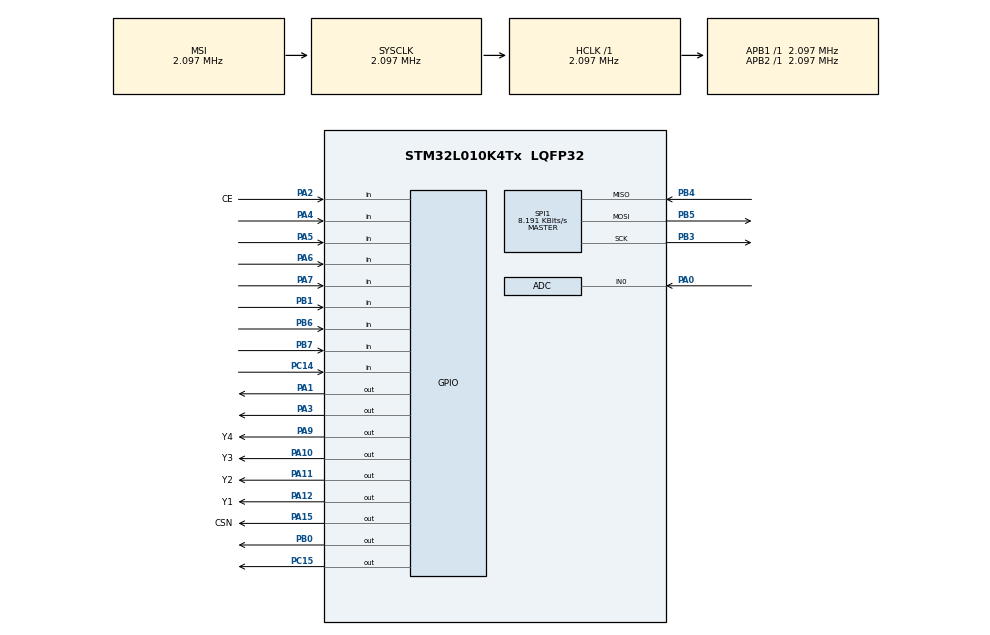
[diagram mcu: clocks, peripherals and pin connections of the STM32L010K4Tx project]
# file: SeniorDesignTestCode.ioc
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Mcu.Family=STM32L0
RCC.MSI_VALUE=2097000
SPI1.VirtualType=VM_MASTER
PA0-CK_IN.Mode=IN0
PA9.GPIO_Label=Y4
PA11.GPIO_Label=Y2
PC14-OSC32_IN.Signal=GPIO_Input
PA12.GPIO_Label=Y1
ProjectManager.StackSize=0x400
RCC.HSI16_VALUE=16000000
PA15.GPIO_Label=CSN
PA12.Signal=GPIO_Output
ProjectManager.TargetToolchain=STM32CubeIDE
SPI1.Direction=SPI_DIRECTION_2LINES
RCC.APB2TimFreq_Value=2097000
PA9.Signal=GPIO_Output
PB6.Signal=GPIO_Input
SPI1.CalculateBaudRate=8.191 KBits/s
RCC.LSE_VALUE=32768
PC15-OSC32_OUT.Signal=GPIO_Output
PA1.Signal=GPIO_Output
RCC.AHBFreq_Value=2097000
PA5.Signal=GPIO_Input
RCC.HSE_VALUE=8000000
PB3.Mode=Full_Duplex_Master
board=custom
RCC.VCOOutputFreq_Value=48000000
PA0-CK_IN.Signal=ADC_IN0
RCC.APB2Freq_Value=2097000
PB4.Mode=Full_Duplex_Master
SPI1.Mode=SPI_MODE_MASTER
PB5.Mode=Full_Duplex_Master
PA10.GPIO_Label=Y3
PB7.Signal=GPIO_Input
Mcu.Name=STM32L010K4Tx
PA2.Signal=GPIO_Input
PB3.Signal=SPI1_SCK
PA4.Signal=GPIO_Input
RCC.SYSCLKFreq_VALUE=2097000
Mcu.Package=LQFP32
PB5.Signal=SPI1_MOSI
PA6.Signal=GPIO_Input
PB1.Signal=GPIO_Input
PA2.GPIO_Label=CE
PA11.Signal=GPIO_Output
PA10.Signal=GPIO_Output
PA15.Signal=GPIO_Output
ProjectManager.HeapSize=0x200
RCC.HSI_VALUE=16000000
RCC.APB1TimFreq_Value=2097000
RCC.APB1Freq_Value=2097000
SPI1.BaudRatePrescaler=SPI_BAUDRATEPRESCALER_256
PB0.Signal=GPIO_Output
PB4.Signal=SPI1_MISO
PA3.Signal=GPIO_Output
PA7.Signal=GPIO_Input

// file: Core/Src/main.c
/* USER CODE BEGIN Header */
/**
  ******************************************************************************
  * @file           : main.c
  * @brief          : Main program body
  ******************************************************************************
  * @attention
  *
  * <h2><center>&copy; Copyright (c) 2021 STMicroelectronics.
  * All rights reserved.</center></h2>
  *
  * This software component is licensed by ST under BSD 3-Clause license,
  * the "License"; You may not use this file except in compliance with the
  * License. You may obtain a copy of the License at:
  *                        opensource.org/licenses/BSD-3-Clause
  *
  ******************************************************************************
  */
/* USER CODE END Header */
#include "main.h"

/* USER CODE BEGIN Includes */
#include <math.h>
#include "MY_NRF24.h"
/* USER CODE END Includes */

/* USER CODE BEGIN PD */
#define USB_ADDR 0x11223344AA
#define PI_ADDR 0x5566778899

#define RX_ADDR 0x4444444444
#define CHANNEL 120
#define RX_PIPE 1
#define PAYLOAD_SIZE 5

#define RF_CLICK_LEFT 0x01
#define RF_CLICK_RIGHT 0x02
#define RF_CLICK_LEFT_RELEASE 0x03
#define RF_CLICK_RIGHT_RELEASE 0x04

#define RF_CALIBRATE_START 0x10
#define RF_CALIBRATE_CORNER 0x11
#define RF_COMMAND_LASER_ON 0x12
#define RF_CALIBRATE_CORNER_RESULT 0x13
#define RF_CALIBRATE_END 0x14
#define RF_CALIBRATE_RESULT 0X15
#define RF_CALIBRATE_FAIL 0x00
#define RF_GET_BASE 0x30

#define RF_LASERS_ON 0x20
#define RF_LASERS_OFF 0x21
#define RF_IR_ON 0x22
#define RF_IR_OFF 0x23

/* USER CODE END PD */

ADC_HandleTypeDef hadc;

SPI_HandleTypeDef hspi1;

void SystemClock_Config(void);
static void MX_GPIO_Init(void);
static void MX_ADC_Init(void);
static void MX_SPI1_Init(void);
/* USER CODE BEGIN PFP */
void send_lasers_on();
void send_lasers_off();
void send_IR_on();
void send_IR_off();
void send_left_click();
void send_right_click();
void send_left_click_off();
void send_right_click_off();
void send_calibration_start();
void send_calibration_packet();
void send_calibration_end();
void send_RF_packet(uint8_t command, uint64_t addr);
void setupTX(uint8_t channel, uint8_t payloadSize);
void setupRX(uint64_t address, uint8_t pipe);
void read_regs();

/* USER CODE END PFP */

/* USER CODE BEGIN 0 */

void read_regs()
{
	uint8_t config = NRF24_read_register(REG_CONFIG);
	uint8_t en_aa = NRF24_read_register(REG_EN_AA);
	uint8_t en_rxaddr = NRF24_read_register(REG_EN_RXADDR);
	uint8_t setup_aw = NRF24_read_register(REG_SETUP_AW);
	uint8_t setup_retr = NRF24_read_register(REG_SETUP_RETR);
	uint8_t ch = NRF24_read_register(REG_RF_CH);
	uint8_t rf_setup = NRF24_read_register(REG_RF_SETUP);

	uint8_t dynpd = NRF24_read_register(REG_DYNPD);
	uint8_t feature = NRF24_read_register(REG_FEATURE);

	uint8_t pipe_addr[5];
	NRF24_read_registerN(0x0A+1, pipe_addr, 5);
	uint8_t a = pipe_addr[4];
	return;
}

void send_RF_packet(uint8_t command, uint64_t addr)
{
	uint8_t tx_data[5] = "Hello";
	tx_data[0] = command;
  //NRF24_stopListening();
  //NRF24_openWritingPipe(addr);
  read_regs();
  if(NRF24_write(tx_data,5)) {
	  HAL_GPIO_TogglePin(GPIOA, GPIO_PIN_10);
	  HAL_Delay(500);
  }
  return;
}

void setupTX(uint8_t channel, uint8_t payloadSize){
  NRF24_stopListening();
  NRF24_openWritingPipe(PI_ADDR);
  NRF24_setAutoAck(true);
  NRF24_setChannel(channel);
  NRF24_setPayloadSize(payloadSize);
	NRF24_setDataRate(RF24_250KBPS);
	NRF24_powerUp();

  return;
}

//void setupRX(uint64_t address, uint8_t pipe){
//  //NRF24_stopListening();
//  NRF24_setAutoAck(true);
//  NRF24_setChannel(CHANNEL);
//  NRF24_setPayloadSize(PAYLOAD_SIZE);
//  NRF24_openReadingPipe(pipe, address);
//  NRF24_enableDynamicPayloads();
//  NRF24_startListening();
//  return;
//}

void corner(uint16_t led_number, int payloadSize) {
	uint8_t RxData[payloadSize];
	do {
		while (HAL_GPIO_ReadPin(GPIOA, GPIO_PIN_5) == 0);
		send_RF_packet(RF_CALIBRATE_CORNER, PI_ADDR);
		//setupRX(0x2233445566,2);
		while (!NRF24_available()); //Wait until PI responds
		NRF24_read(RxData, payloadSize);
		HAL_GPIO_WritePin(GPIOA, led_number, GPIO_PIN_SET);
		HAL_Delay(250);
		HAL_GPIO_WritePin(GPIOA, led_number, GPIO_PIN_RESET);
	} while(RxData[0] != RF_CALIBRATE_CORNER_RESULT || RxData[1] == RF_CALIBRATE_FAIL); //Sucessful Corner Calibration
	HAL_GPIO_WritePin(GPIOA, led_number, GPIO_PIN_SET); // Turn on Y3
	HAL_Delay(100);
}

/* USER CODE END 0 */

int main(void)
{

  /* MCU Configuration--------------------------------------------------------*/

  /* Reset of all peripherals, Initializes the Flash interface and the Systick. */
  HAL_Init();

  /* Configure the system clock */
  SystemClock_Config();

  /* Initialize all configured peripherals */
  MX_GPIO_Init();
  MX_ADC_Init();
  MX_SPI1_Init();
  /* USER CODE BEGIN 2 */

  //Initialize NRF24
  NRF24_begin(CSN_GPIO_Port, CSN_Pin, CE_Pin, hspi1);
	uint8_t RxData[32];

  setupTX(CHANNEL,PAYLOAD_SIZE);

	// NRF24_enableAckPayload();

	//printRadioSettings();

  /* USER CODE END 2 */

  /* Infinite loop */
  /* USER CODE BEGIN WHILE */
  uint16_t raw;
  uint8_t LASER_ON = 0;

  // Down to turn the lasers (mouse) on
  // A to left click
  // B to right click
  // 1 to enter calibration mode
  // 2 to check battery level
  // Still have plus, minus, and HOME open.
  send_RF_packet(RF_GET_BASE, PI_ADDR); // Send left click

  while (1)
  {
//	  if (NRF24_available()) {
//		  NRF24_read(RxData, PAYLOAD_SIZE);
//			HAL_GPIO_TogglePin(GPIOA, GPIO_PIN_12); // Turn off yellow 4
//			HAL_Delay(250);
//	  }
    /* USER CODE END WHILE */

    /* USER CODE BEGIN 3 */
	  // Down is PA4
//	  if (HAL_GPIO_ReadPin(GPIOA, GPIO_PIN_4) && LASER_ON == false)
//	  {
//		  send_RF_packet(RF_LASERS_ON, USB_ADDR); // Send that the lasers are about to toggle
//		  LASER_ON = true;
//		  HAL_GPIO_WritePin(GPIOA, GPIO_PIN_3, GPIO_PIN_SET); // Turn red laser ON
//		  HAL_GPIO_WritePin(GPIOB, GPIO_PIN_0, GPIO_PIN_SET); // Turn IR laser ON
//		  HAL_Delay(100);
//	  }
//	  else if (!HAL_GPIO_ReadPin(GPIOA, GPIO_PIN_4) && LASER_ON == true) {
//		  send_RF_packet(RF_LASERS_OFF, USB_ADDR); // Send that the lasers are about to toggle
//		  LASER_ON = false;
//		  HAL_GPIO_WritePin(GPIOA, GPIO_PIN_3, GPIO_PIN_RESET); // Turn red laser ON
//		  HAL_GPIO_WritePin(GPIOB, GPIO_PIN_0, GPIO_PIN_RESET); // Turn IR laser ON
//		  HAL_Delay(100);
//	  }
//	  if (HAL_GPIO_ReadPin(GPIOA, GPIO_PIN_4))
//	  {
//		HAL_GPIO_WritePin(GPIOA, GPIO_PIN_12, GPIO_PIN_SET); // Turn off yellow 4
//		HAL_Delay(100);
//		send_RF_packet(RF_GET_BASE, PI_ADDR); // Send that the lasers are about to toggle
//		NRF24_powerDown();
//		setupRX(RX_ADDR,RX_PIPE);
//		HAL_Delay(100);
//		HAL_GPIO_TogglePin(GPIOA, GPIO_PIN_11); // Turn off yellow 4
//		while (!NRF24_available()) {
//			if ( HAL_GPIO_ReadPin(GPIOC, GPIO_PIN_14)) {
//				break;
//			}
//		}
//		HAL_GPIO_TogglePin(GPIOA, GPIO_PIN_9);
//
////		if (NRF24_available()) {
////			NRF24_read(RxData, PAYLOAD_SIZE);
////			if (LASER_ON) {
////				send_RF_packet(RF_LASERS_OFF, PI_ADDR); // Send that the lasers are about to toggle
////				LASER_ON = 0;
////			}
////			else {
////				send_RF_packet(RF_LASERS_ON, PI_ADDR); // Send that the lasers are about to toggle
////				LASER_ON = 1;
////			}
////			HAL_GPIO_WritePin(GPIOA, GPIO_PIN_12, GPIO_PIN_RESET); // Turn off yellow 4
////			HAL_GPIO_WritePin(GPIOA, GPIO_PIN_11, GPIO_PIN_RESET);
////			  HAL_GPIO_TogglePin(GPIOA, GPIO_PIN_3); // Turn red laser ON
////			  HAL_GPIO_TogglePin(GPIOB, GPIO_PIN_0); // Turn IR laser ON
////			  HAL_Delay(1000);
////		}
//
//	  }

	  // A is PA6
	  if (HAL_GPIO_ReadPin(GPIOA, GPIO_PIN_6))
	  {
		  //send_RF_packet(RF_CLICK_LEFT, USB_ADDR); // Send left click
		  send_RF_packet(RF_GET_BASE, PI_ADDR); // Send left click
		  HAL_GPIO_WritePin(GPIOA, GPIO_PIN_12, GPIO_PIN_SET); // Turn off yellow 4
		  HAL_Delay(500);
		  while (HAL_GPIO_ReadPin(GPIOA, GPIO_PIN_6)) {
			  HAL_Delay(100);
		  }
		  send_RF_packet(RF_CLICK_LEFT_RELEASE, USB_ADDR);
		  HAL_GPIO_WritePin(GPIOA, GPIO_PIN_12, GPIO_PIN_RESET); // Turn off yellow 4
		  HAL_Delay(100);
	  }

	  // B is PA5
	  if (HAL_GPIO_ReadPin(GPIOA, GPIO_PIN_5))
	  {
		  send_RF_packet(RF_CLICK_RIGHT, USB_ADDR); // Send right click
		  HAL_Delay(100);
		  while (HAL_GPIO_ReadPin(GPIOA, GPIO_PIN_5)) {
			  HAL_Delay(100);
		  }
		  send_RF_packet(RF_CLICK_RIGHT_RELEASE, USB_ADDR);
		  HAL_Delay(100);
	  }

	  // This is temp code
	  // 'Home' is PA7
	  if (HAL_GPIO_ReadPin(GPIOA, GPIO_PIN_7))
	  {
		  // send_mouse_movement();
		  HAL_Delay(100);
	  }

	  // 1 is PB7
	  if (HAL_GPIO_ReadPin(GPIOB, GPIO_PIN_7))
	  {
		  send_RF_packet(RF_CALIBRATE_START, PI_ADDR); // Send calibration mode
		  //HAL_GPIO_WritePin(GPIOA, GPIO_PIN_12, GPIO_PIN_SET); // Start with yellow 4 (going left to right)
		  HAL_GPIO_WritePin(GPIOA, GPIO_PIN_0, GPIO_PIN_RESET); // Turn IR Off

		  // Press B on the top left corner of the screen
      uint8_t RxData[PAYLOAD_SIZE];
      do {
			corner(GPIO_PIN_12, PAYLOAD_SIZE);
			corner(GPIO_PIN_11, PAYLOAD_SIZE);
			corner(GPIO_PIN_10, PAYLOAD_SIZE);
			corner(GPIO_PIN_9, PAYLOAD_SIZE);

        //Wait for final message from Pi
        while (!NRF24_available()); //Wait until PI responds
        NRF24_read(RxData, PAYLOAD_SIZE);

      }while(RxData[0] != RF_CALIBRATE_RESULT || RxData[1] == RF_CALIBRATE_FAIL); //Recalibrate

		  HAL_GPIO_WritePin(GPIOA, GPIO_PIN_12, GPIO_PIN_RESET); // Turn off yellow 4
		  HAL_GPIO_WritePin(GPIOA, GPIO_PIN_11, GPIO_PIN_RESET); // Turn off yellow 3
		  HAL_GPIO_WritePin(GPIOA, GPIO_PIN_10, GPIO_PIN_RESET); // Turn off yellow 2
		  HAL_GPIO_WritePin(GPIOA, GPIO_PIN_9 , GPIO_PIN_RESET); // Turn off yellow 1
		  HAL_Delay(100);

	  }

	  // 2 is PC14
	  if (HAL_GPIO_ReadPin(GPIOC, GPIO_PIN_14))
	  {
		  // ADC stuff
		  HAL_ADC_Start(&hadc);
		  HAL_ADC_PollForConversion(&hadc, HAL_MAX_DELAY);
		  raw = HAL_ADC_GetValue(&hadc);

		  if (raw >= 2950) // red at 2950, green anywhere below that. 2.2 V
		  {
			  HAL_GPIO_WritePin(GPIOC, GPIO_PIN_15, GPIO_PIN_SET); // Turn on the green LEDs
		  }
		  else
		  {
			  HAL_GPIO_WritePin(GPIOA, GPIO_PIN_1, GPIO_PIN_SET); // Turn on the red LEDs
		  }

		  HAL_Delay(3000);
		  HAL_GPIO_WritePin(GPIOC, GPIO_PIN_15, GPIO_PIN_RESET); // Turn off the red LEDs
		  HAL_GPIO_WritePin(GPIOA, GPIO_PIN_1, GPIO_PIN_RESET); // Turn off the red LEDs
	  }
  }
  /* USER CODE END 3 */
}

void SystemClock_Config(void)
{
  RCC_OscInitTypeDef RCC_OscInitStruct = {0};
  RCC_ClkInitTypeDef RCC_ClkInitStruct = {0};

  /** Configure the main internal regulator output voltage
  */
  __HAL_PWR_VOLTAGESCALING_CONFIG(PWR_REGULATOR_VOLTAGE_SCALE1);
  /** Initializes the RCC Oscillators according to the specified parameters
  * in the RCC_OscInitTypeDef structure.
  */
  RCC_OscInitStruct.OscillatorType = RCC_OSCILLATORTYPE_MSI;
  RCC_OscInitStruct.MSIState = RCC_MSI_ON;
  RCC_OscInitStruct.MSICalibrationValue = 0;
  RCC_OscInitStruct.MSIClockRange = RCC_MSIRANGE_5;
  RCC_OscInitStruct.PLL.PLLState = RCC_PLL_NONE;
  if (HAL_RCC_OscConfig(&RCC_OscInitStruct) != HAL_OK)
  {
    Error_Handler();
  }
  /** Initializes the CPU, AHB and APB buses clocks
  */
  RCC_ClkInitStruct.ClockType = RCC_CLOCKTYPE_HCLK|RCC_CLOCKTYPE_SYSCLK
                              |RCC_CLOCKTYPE_PCLK1|RCC_CLOCKTYPE_PCLK2;
  RCC_ClkInitStruct.SYSCLKSource = RCC_SYSCLKSOURCE_MSI;
  RCC_ClkInitStruct.AHBCLKDivider = RCC_SYSCLK_DIV1;
  RCC_ClkInitStruct.APB1CLKDivider = RCC_HCLK_DIV1;
  RCC_ClkInitStruct.APB2CLKDivider = RCC_HCLK_DIV1;

  if (HAL_RCC_ClockConfig(&RCC_ClkInitStruct, FLASH_LATENCY_0) != HAL_OK)
  {
    Error_Handler();
  }
}

static void MX_ADC_Init(void)
{

  ADC_ChannelConfTypeDef sConfig = {0};

  /** Configure the global features of the ADC (Clock, Resolution, Data Alignment and number of conversion)
  */
  hadc.Instance = ADC1;
  hadc.Init.OversamplingMode = DISABLE;
  hadc.Init.ClockPrescaler = ADC_CLOCK_SYNC_PCLK_DIV1;
  hadc.Init.Resolution = ADC_RESOLUTION_12B;
  hadc.Init.SamplingTime = ADC_SAMPLETIME_1CYCLE_5;
  hadc.Init.ScanConvMode = ADC_SCAN_DIRECTION_FORWARD;
  hadc.Init.DataAlign = ADC_DATAALIGN_RIGHT;
  hadc.Init.ContinuousConvMode = DISABLE;
  hadc.Init.DiscontinuousConvMode = DISABLE;
  hadc.Init.ExternalTrigConvEdge = ADC_EXTERNALTRIGCONVEDGE_NONE;
  hadc.Init.ExternalTrigConv = ADC_SOFTWARE_START;
  hadc.Init.DMAContinuousRequests = DISABLE;
  hadc.Init.EOCSelection = ADC_EOC_SINGLE_CONV;
  hadc.Init.Overrun = ADC_OVR_DATA_PRESERVED;
  hadc.Init.LowPowerAutoWait = DISABLE;
  hadc.Init.LowPowerFrequencyMode = ENABLE;
  hadc.Init.LowPowerAutoPowerOff = DISABLE;
  if (HAL_ADC_Init(&hadc) != HAL_OK)
  {
    Error_Handler();
  }
  /** Configure for the selected ADC regular channel to be converted.
  */
  sConfig.Channel = ADC_CHANNEL_0;
  sConfig.Rank = ADC_RANK_CHANNEL_NUMBER;
  if (HAL_ADC_ConfigChannel(&hadc, &sConfig) != HAL_OK)
  {
    Error_Handler();
  }

}

static void MX_SPI1_Init(void)
{

  /* SPI1 parameter configuration*/
  hspi1.Instance = SPI1;
  hspi1.Init.Mode = SPI_MODE_MASTER;
  hspi1.Init.Direction = SPI_DIRECTION_2LINES;
  hspi1.Init.DataSize = SPI_DATASIZE_8BIT;
  hspi1.Init.CLKPolarity = SPI_POLARITY_LOW;
  hspi1.Init.CLKPhase = SPI_PHASE_1EDGE;
  hspi1.Init.NSS = SPI_NSS_SOFT;
  hspi1.Init.BaudRatePrescaler = SPI_BAUDRATEPRESCALER_256;
  hspi1.Init.FirstBit = SPI_FIRSTBIT_MSB;
  hspi1.Init.TIMode = SPI_TIMODE_DISABLE;
  hspi1.Init.CRCCalculation = SPI_CRCCALCULATION_DISABLE;
  hspi1.Init.CRCPolynomial = 7;
  if (HAL_SPI_Init(&hspi1) != HAL_OK)
  {
    Error_Handler();
  }

}

static void MX_GPIO_Init(void)
{
  GPIO_InitTypeDef GPIO_InitStruct = {0};

  /* GPIO Ports Clock Enable */
  __HAL_RCC_GPIOC_CLK_ENABLE();
  __HAL_RCC_GPIOA_CLK_ENABLE();
  __HAL_RCC_GPIOB_CLK_ENABLE();

  /*Configure GPIO pin Output Level */
  HAL_GPIO_WritePin(GPIOC, GPIO_PIN_15, GPIO_PIN_RESET);

  /*Configure GPIO pin Output Level */
  HAL_GPIO_WritePin(GPIOA, GPIO_PIN_1|GPIO_PIN_3|Y4_Pin|Y3_Pin
                          |Y2_Pin|Y1_Pin|CSN_Pin, GPIO_PIN_RESET);

  /*Configure GPIO pin Output Level */
  HAL_GPIO_WritePin(GPIOB, GPIO_PIN_0, GPIO_PIN_RESET);

  /*Configure GPIO pin : PC14 */
  GPIO_InitStruct.Pin = GPIO_PIN_14;
  GPIO_InitStruct.Mode = GPIO_MODE_INPUT;
  GPIO_InitStruct.Pull = GPIO_NOPULL;
  HAL_GPIO_Init(GPIOC, &GPIO_InitStruct);

  /*Configure GPIO pin : PC15 */
  GPIO_InitStruct.Pin = GPIO_PIN_15;
  GPIO_InitStruct.Mode = GPIO_MODE_OUTPUT_PP;
  GPIO_InitStruct.Pull = GPIO_NOPULL;
  GPIO_InitStruct.Speed = GPIO_SPEED_FREQ_LOW;
  HAL_GPIO_Init(GPIOC, &GPIO_InitStruct);

  /*Configure GPIO pins : PA1 PA3 Y4_Pin Y3_Pin
                           Y2_Pin Y1_Pin CSN_Pin */
  GPIO_InitStruct.Pin = GPIO_PIN_1|GPIO_PIN_3|Y4_Pin|Y3_Pin
                          |Y2_Pin|Y1_Pin|CSN_Pin;
  GPIO_InitStruct.Mode = GPIO_MODE_OUTPUT_PP;
  GPIO_InitStruct.Pull = GPIO_NOPULL;
  GPIO_InitStruct.Speed = GPIO_SPEED_FREQ_LOW;
  HAL_GPIO_Init(GPIOA, &GPIO_InitStruct);

  /*Configure GPIO pins : CE_Pin PA4 PA5 PA6
                           PA7 */
  GPIO_InitStruct.Pin = CE_Pin|GPIO_PIN_4|GPIO_PIN_5|GPIO_PIN_6
                          |GPIO_PIN_7;
  GPIO_InitStruct.Mode = GPIO_MODE_INPUT;
  GPIO_InitStruct.Pull = GPIO_NOPULL;
  HAL_GPIO_Init(GPIOA, &GPIO_InitStruct);

  /*Configure GPIO pin : PB0 */
  GPIO_InitStruct.Pin = GPIO_PIN_0;
  GPIO_InitStruct.Mode = GPIO_MODE_OUTPUT_PP;
  GPIO_InitStruct.Pull = GPIO_NOPULL;
  GPIO_InitStruct.Speed = GPIO_SPEED_FREQ_LOW;
  HAL_GPIO_Init(GPIOB, &GPIO_InitStruct);

  /*Configure GPIO pins : PB1 PB6 PB7 */
  GPIO_InitStruct.Pin = GPIO_PIN_1|GPIO_PIN_6|GPIO_PIN_7;
  GPIO_InitStruct.Mode = GPIO_MODE_INPUT;
  GPIO_InitStruct.Pull = GPIO_NOPULL;
  HAL_GPIO_Init(GPIOB, &GPIO_InitStruct);

}

void Error_Handler(void)
{
  __disable_irq();
  while (1)
  {
  }
}

/************************ (C) COPYRIGHT STMicroelectronics *****END OF FILE****/
